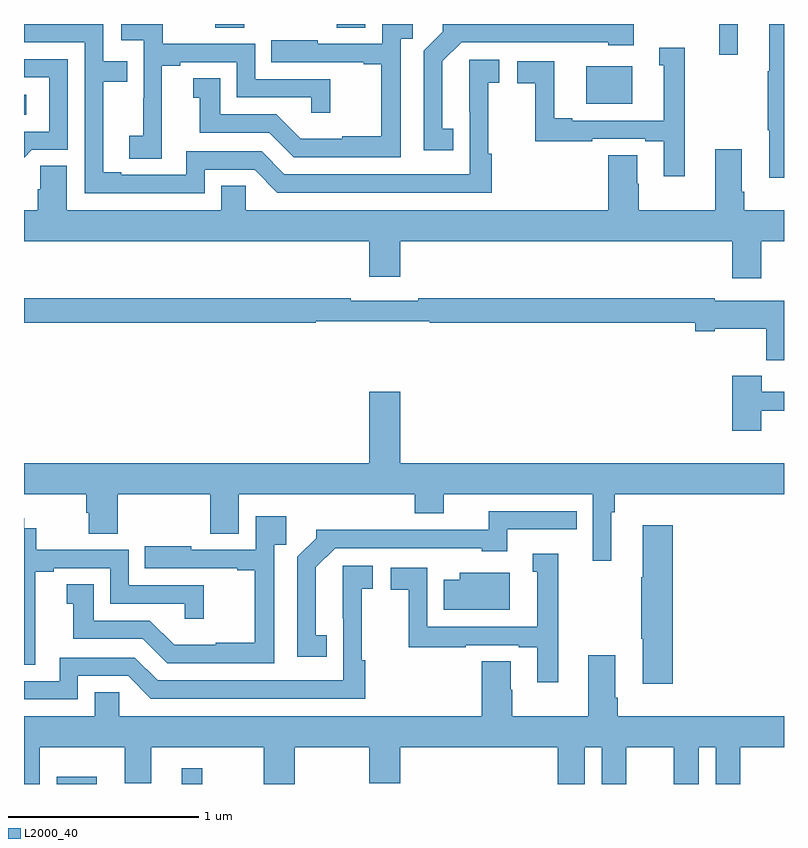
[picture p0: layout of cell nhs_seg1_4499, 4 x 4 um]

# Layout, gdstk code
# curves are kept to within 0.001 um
import gdstk
lib = gdstk.Library(unit=1e-6, precision=1e-09)
def R(c, l, rs):  # rectangles x0, y0, x1, y1
    for r in rs: c.add(gdstk.rectangle(r[:2], r[2:], *l))
def P(c, l, *ps):  # polygons
    for p in ps: c.add(gdstk.Polygon(p, *l))
L2000_40 = (2000, 40)

nhs_seg1_4499 = lib.new_cell('nhs_seg1_4499')
R(nhs_seg1_4499, L2000_40, [(355.172,558.199,355.384,558.238), (355.83,558.199,355.939,558.283), (355,561.722,355.012,561.826), (357.959,561.779,358.201,561.976), (358.659,562.038,358.756,562.199), (356.006,562.18,356.159,562.199), (356.645,562.18,356.797,562.199)])
P(nhs_seg1_4499, L2000_40, [(357.26,561.647),(357.202,561.647),(357.202,562.003),(357.303,562.104),(358.074,562.104),(358.074,562.088),(358.21,562.088),(358.21,562.199),(357.204,562.199),(357.204,562.157),(357.105,562.058),(357.105,561.534),(357.26,561.534)],
  [(355.724,561.601),(355.726,561.601),(355.726,561.979),(355.822,561.979),(355.822,561.999),(356.121,561.999),(356.121,561.813),(356.511,561.813),(356.511,561.732),(356.612,561.732),(356.612,561.909),(356.217,561.909),(356.217,562.095),(355.73,562.095),(355.73,562.199),(355.512,562.199),(355.512,562.113),(355.629,562.113),(355.629,561.809),(355.628,561.809),(355.628,561.612),(355.554,561.612),(355.554,561.49),(355.724,561.49)],
  [(359,562.199),(358.922,562.199),(358.922,561.95),(358.915,561.95),(358.915,561.639),(358.922,561.639),(358.922,561.39),(359,561.39)],
  [(356.982,562.121),(357.047,562.121),(357.047,562.199),(356.886,562.199),(356.886,562.095),(356.545,562.095),(356.545,562.114),(356.302,562.114),(356.302,561.999),(356.789,561.999),(356.789,561.987),(356.881,561.987),(356.881,561.607),(356.675,561.607),(356.675,561.595),(356.456,561.595),(356.328,561.723),(356.032,561.723),(356.032,561.914),(355.892,561.914),(355.892,561.811),(355.925,561.811),(355.925,561.627),(356.292,561.627),(356.421,561.498),(356.982,561.498)],
  [(355.95,561.432),(356.214,561.432),(356.334,561.312),(357.461,561.312),(357.461,561.515),(357.444,561.515),(357.444,561.891),(357.502,561.891),(357.502,562.012),(357.344,562.012),(357.345,561.408),(356.37,561.408),(356.25,561.528),(355.854,561.528),(355.854,561.405),(355.513,561.405),(355.513,561.42),(355.417,561.42),(355.417,561.894),(355.544,561.894),(355.544,562.002),(355.416,562.002),(355.416,562.199),(355,562.199),(355,562.104),(355.32,562.104),(355.32,561.309),(355.95,561.309)],
  [(358.477,562.075),(358.343,562.075),(358.343,561.981),(358.367,561.981),(358.367,561.69),(357.886,561.69),(357.886,561.703),(357.79,561.703),(357.79,562.002),(357.597,562.002),(357.597,561.886),(357.691,561.886),(357.691,561.582),(357.992,561.582),(357.992,561.594),(358.271,561.594),(358.271,561.582),(358.367,561.582),(358.367,561.399),(358.477,561.399)],
  [(355.041,561.537),(355.23,561.537),(355.23,562.014),(355,562.014),(355,561.918),(355.134,561.918),(355.134,561.633),(355,561.633),(355,561.496)],
  [(356.166,561.347),(356.039,561.347),(356.039,561.22),(355.225,561.22),(355.225,561.452),(355.086,561.452),(355.086,561.329),(355.073,561.329),(355.073,561.22),(355,561.22),(355,561.056),(356.816,561.056),(356.816,560.868),(356.98,560.868),(356.98,561.056),(358.727,561.056),(358.727,560.862),(358.879,560.862),(358.879,561.056),(359,561.056),(359,561.22),(358.79,561.22),(358.79,561.316),(358.777,561.316),(358.777,561.541),(358.637,561.541),(358.637,561.22),(358.236,561.22),(358.236,561.359),(358.228,561.359),(358.228,561.509),(358.076,561.509),(358.076,561.22),(356.166,561.22)],
  [(359,560.743),(358.636,560.743),(358.636,560.755),(357.076,560.755),(357.076,560.742),(356.72,560.742),(356.72,560.755),(355,560.755),(355,560.626),(356.536,560.626),(356.536,560.634),(357.136,560.634),(357.136,560.626),(358.532,560.626),(358.532,560.582),(358.636,560.582),(358.636,560.594),(358.906,560.594),(358.906,560.429),(359,560.429)],
  [(358.879,560.163),(359,560.163),(359,560.263),(358.882,560.263),(358.882,560.347),(358.727,560.347),(358.727,560.058),(358.879,560.058)],
  [(358.09,559.628),(358.109,559.628),(358.109,559.724),(359,559.724),(359,559.888),(356.98,559.888),(356.98,560.263),(356.816,560.263),(356.816,559.888),(355,559.888),(355,559.724),(355.328,559.724),(355.328,559.626),(355.34,559.626),(355.34,559.516),(355.493,559.516),(355.493,559.724),(355.979,559.724),(355.979,559.516),(356.131,559.516),(356.131,559.724),(357.056,559.724),(357.056,559.625),(357.208,559.625),(357.208,559.724),(357.993,559.724),(357.993,559.374),(358.09,559.374)],
  [(356.594,558.983),(356.536,558.983),(356.536,559.339),(356.637,559.44),(357.408,559.44),(357.408,559.424),(357.544,559.424),(357.544,559.539),(357.908,559.539),(357.908,559.635),(357.445,559.635),(357.445,559.536),(356.972,559.536),(356.972,559.538),(356.538,559.538),(356.538,559.493),(356.439,559.394),(356.439,558.87),(356.594,558.87)],
  [(356.316,559.457),(356.381,559.457),(356.381,559.609),(356.22,559.609),(356.22,559.431),(355.879,559.431),(355.879,559.45),(355.636,559.45),(355.636,559.335),(356.123,559.335),(356.123,559.323),(356.215,559.323),(356.215,558.943),(356.009,558.943),(356.009,558.931),(355.79,558.931),(355.662,559.059),(355.366,559.059),(355.366,559.25),(355.226,559.25),(355.226,559.147),(355.259,559.147),(355.259,558.963),(355.626,558.963),(355.755,558.834),(356.316,558.834)],
  [(355.058,558.937),(355.06,558.937),(355.06,559.315),(355.156,559.315),(355.156,559.335),(355.455,559.335),(355.455,559.149),(355.845,559.149),(355.845,559.068),(355.946,559.068),(355.946,559.245),(355.551,559.245),(355.551,559.431),(355.064,559.431),(355.064,559.545),(355.002,559.545),(355.002,559.597),(355,559.597),(355,558.826),(355.058,558.826)],
  [(358.415,559.561),(358.256,559.561),(358.256,559.286),(358.249,559.286),(358.249,558.964),(358.256,558.964),(358.256,558.726),(358.415,558.726)],
  [(357.811,559.411),(357.677,559.411),(357.677,559.317),(357.701,559.317),(357.701,559.026),(357.123,559.026),(357.123,559.338),(356.931,559.338),(356.931,559.222),(357.025,559.222),(357.025,558.918),(357.326,558.918),(357.326,558.93),(357.605,558.93),(357.605,558.918),(357.701,558.918),(357.701,558.735),(357.811,558.735)],
  [(355.284,558.768),(355.548,558.768),(355.668,558.648),(356.795,558.648),(356.795,558.851),(356.778,558.851),(356.778,559.227),(356.836,559.227),(356.836,559.348),(356.678,559.348),(356.679,558.744),(355.704,558.744),(355.584,558.864),(355.188,558.864),(355.188,558.741),(355,558.741),(355,558.645),(355.284,558.645)],
  [(357.556,559.312),(357.293,559.312),(357.293,559.273),(357.208,559.273),(357.208,559.115),(357.556,559.115)],
  [(355.084,558.392),(355.529,558.392),(355.529,558.203),(355.669,558.203),(355.669,558.392),(356.261,558.392),(356.261,558.199),(356.425,558.199),(356.425,558.392),(356.816,558.392),(356.816,558.204),(356.98,558.204),(356.98,558.392),(357.809,558.392),(357.809,558.199),(357.952,558.199),(357.952,558.392),(358.04,558.392),(358.04,558.199),(358.171,558.199),(358.171,558.392),(358.421,558.392),(358.421,558.199),(358.552,558.199),(358.552,558.392),(358.64,558.392),(358.64,558.199),(358.771,558.199),(358.771,558.392),(359,558.392),(359,558.556),(358.124,558.556),(358.124,558.652),(358.111,558.652),(358.111,558.877),(357.971,558.877),(357.971,558.556),(357.57,558.556),(357.57,558.695),(357.562,558.695),(357.562,558.845),(357.41,558.845),(357.41,558.556),(355.5,558.556),(355.5,558.683),(355.373,558.683),(355.373,558.556),(355,558.556),(355,558.199),(355.084,558.199)])

lib.write_gds('nhs_seg1_4499.gds')
